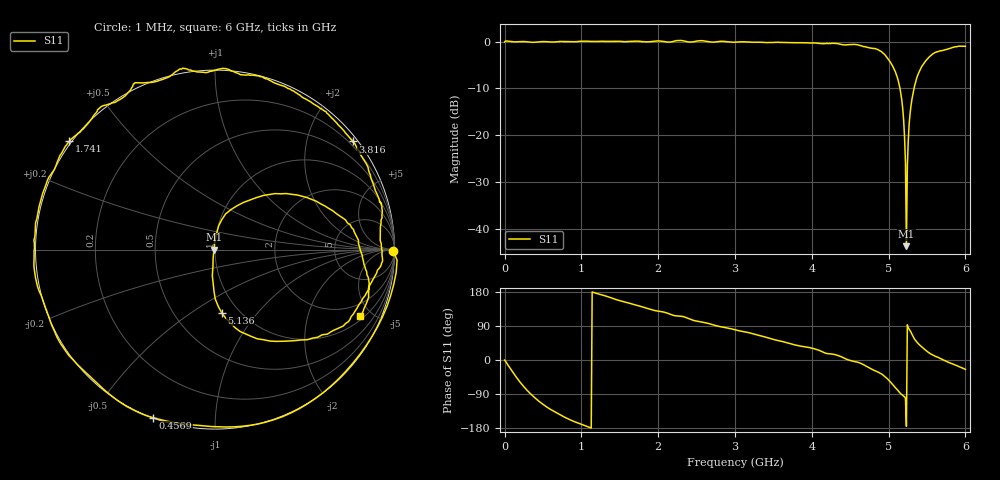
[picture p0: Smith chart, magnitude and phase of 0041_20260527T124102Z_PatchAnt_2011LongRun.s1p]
# Hz S RI R 50
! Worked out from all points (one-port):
!   501 points, 1 MHz to 6 GHz, reference 50 ohm
!   lowest |S11| = -43.7 dB at 5.232 GHz (marker M1), VSWR 1.01, Z = 49.4 - j0.0557 ohm
!   |S11| at or under -10 dB: 5.149 GHz to 5.331 GHz (182.7 MHz wide, 3.49 % of centre)
!   S11 on the Smith chart (normalised r, x): 1 MHz: open; 456.9 MHz: 0.00, -0.70; 1.741 GHz: -0.01, +0.33; 3.816 GHz: 0.12, +2.89; 5.136 GHz: 0.83, -0.67; 6 GHz: 1.19, -4.26
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1000000  0.9924 -0.00571
8.4986e7  0.9055 -0.431
2.28962e8  0.4212 -0.9109
3.12948e8  0.1028 -0.9876
4.56924e8  -0.3465 -0.9359
7.56874e8  -0.8558 -0.5307
1.056824e9  -1.007 -0.1077
1.50075e9  -0.9258 0.4029
1.74071e9  -0.812 0.6041
2.256624e9  -0.453 0.9237
3.0005e9  0.1723 0.9722
3.756374e9  0.7349 0.641
3.816364e9  0.7661 0.6024
4.308282e9  0.9294 0.2311
4.50025e9  0.9304 -0.0198
4.86019e9  0.7014 -0.4318
5.028162e9  0.3077 -0.5096
5.136144e9  0.0365 -0.3505
5.184136e9  -0.00986 -0.1925
5.196134e9  -0.0149 -0.1448
5.208132e9  -0.0115 -0.0944
5.232128e9  -0.0065 -0.000564
5.256124e9  0.00827 0.0873
5.268122e9  0.0202 0.132
5.292118e9  0.0592 0.1989
5.412098e9  0.3971 0.3122
5.628062e9  0.7724 0.1111
6e9  0.8092 -0.3712
